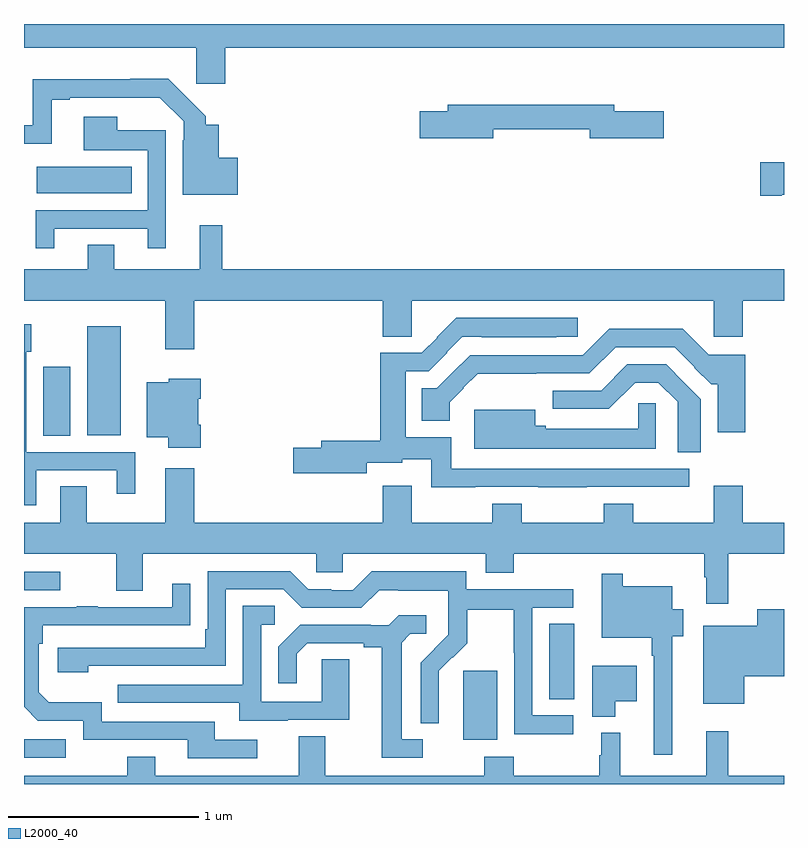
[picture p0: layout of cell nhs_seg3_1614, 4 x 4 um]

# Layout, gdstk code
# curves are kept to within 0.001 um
import gdstk
lib = gdstk.Library(unit=1e-6, precision=1e-09)
def R(c, l, rs):  # rectangles x0, y0, x1, y1
    for r in rs: c.add(gdstk.rectangle(r[:2], r[2:], *l))
def P(c, l, *ps):  # polygons
    for p in ps: c.add(gdstk.Polygon(p, *l))
L2000_40 = (2000, 40)

nhs_seg3_1614 = lib.new_cell('nhs_seg3_1614')
R(nhs_seg3_1614, L2000_40, [(195,670.539,195.22,670.635), (197.312,670.634,197.491,670.995), (197.765,670.846,197.896,671.243), (195,671.421,195.19,671.517), (195.101,672.232,195.244,672.595), (195.332,672.236,195.508,672.808), (195.066,673.508,195.566,673.648)])
P(nhs_seg3_1614, L2000_40, [(196.058,674.276),(199,674.276),(199,674.4),(195,674.4),(195,674.276),(195.907,674.276),(195.907,674.085),(196.058,674.085)],
  [(196.126,673.696),(196.024,673.696),(196.024,673.87),(195.956,673.87),(195.956,673.915),(195.758,674.113),(195.559,674.113),(195.559,674.11),(195.047,674.11),(195.047,673.866),(195,673.866),(195,673.77),(195.145,673.77),(195.145,674.001),(195.241,674.001),(195.241,674.013),(195.715,674.013),(195.84,673.887),(195.84,673.787),(195.836,673.787),(195.836,673.502),(196.126,673.502)],
  [(197.47,673.846),(197.978,673.846),(197.978,673.799),(198.367,673.799),(198.367,673.941),(198.106,673.941),(198.106,673.975),(197.231,673.975),(197.231,673.941),(197.082,673.941),(197.082,673.799),(197.47,673.799)],
  [(195.16,673.323),(195.65,673.323),(195.65,673.221),(195.747,673.221),(195.747,673.84),(195.49,673.84),(195.49,673.912),(195.314,673.912),(195.314,673.736),(195.651,673.736),(195.651,673.419),(195.062,673.419),(195.062,673.221),(195.16,673.221)],
  [(198.988,673.502),(199,673.502),(199,673.673),(198.876,673.673),(198.876,673.495),(198.988,673.495)],
  [(195.743,672.687),(195.896,672.687),(195.896,672.944),(196.889,672.944),(196.889,672.754),(197.04,672.754),(197.04,672.944),(198.631,672.944),(198.631,672.753),(198.782,672.753),(198.782,672.944),(199,672.944),(199,673.108),(196.043,673.108),(196.043,673.342),(195.926,673.342),(195.926,673.108),(195.475,673.108),(195.475,673.238),(195.335,673.238),(195.335,673.108),(195,673.108),(195,672.944),(195.743,672.944)],
  [(197.375,671.964),(198.502,671.964),(198.502,672.06),(197.248,672.06),(197.248,672.226),(197.008,672.226),(197.008,672.573),(197.131,672.573),(197.228,672.67),(197.226,672.672),(197.307,672.753),(197.914,672.753),(197.914,672.853),(197.274,672.853),(197.173,672.752),(197.175,672.75),(197.094,672.669),(196.874,672.669),(196.874,672.206),(196.565,672.206),(196.565,672.17),(196.416,672.17),(196.416,672.035),(196.804,672.035),(196.804,672.09),(196.992,672.09),(196.992,672.11),(197.144,672.11),(197.144,671.963)],
  [(195.064,672.051),(195.488,672.051),(195.488,671.928),(195.586,671.928),(195.586,672.147),(195.012,672.147),(195.012,672.675),(195.039,672.675),(195.039,672.82),(195,672.82),(195,671.867),(195.064,671.867)],
  [(198.797,672.66),(198.603,672.66),(198.467,672.796),(198.079,672.796),(197.94,672.657),(197.348,672.657),(197.173,672.484),(197.093,672.484),(197.093,672.312),(197.242,672.312),(197.242,672.409),(197.315,672.482),(197.312,672.485),(197.387,672.56),(197.976,672.561),(198.114,672.699),(198.426,672.699),(198.531,672.594),(198.528,672.591),(198.616,672.504),(198.65,672.504),(198.65,672.252),(198.797,672.252)],
  [(198.562,672.425),(198.379,672.609),(198.176,672.609),(198.038,672.471),(197.784,672.471),(197.784,672.375),(198.078,672.375),(198.216,672.513),(198.339,672.513),(198.441,672.412),(198.441,672.145),(198.562,672.145)],
  [(195.929,672.292),(195.916,672.292),(195.916,672.428),(195.929,672.428),(195.929,672.532),(195.762,672.532),(195.762,672.514),(195.647,672.514),(195.647,672.224),(195.758,672.224),(195.758,672.17),(195.929,672.17)],
  [(198.326,672.403),(198.232,672.403),(198.232,672.271),(197.745,672.271),(197.745,672.286),(197.692,672.286),(197.692,672.37),(197.37,672.37),(197.37,672.164),(198.326,672.164)],
  [(198.707,671.612),(199,671.612),(199,671.776),(198.782,671.776),(198.782,671.971),(198.629,671.971),(198.629,671.776),(198.207,671.776),(198.207,671.875),(198.052,671.875),(198.052,671.776),(197.619,671.776),(197.619,671.875),(197.464,671.875),(197.464,671.776),(197.041,671.776),(197.041,671.971),(196.889,671.971),(196.889,671.776),(195.896,671.776),(195.896,672.061),(195.743,672.061),(195.743,671.776),(195.331,671.776),(195.331,671.966),(195.191,671.966),(195.191,671.776),(195,671.776),(195,671.612),(195.485,671.612),(195.485,671.418),(195.625,671.418),(195.625,671.612),(196.539,671.612),(196.539,671.514),(196.677,671.514),(196.677,671.612),(197.429,671.612),(197.429,671.513),(197.577,671.513),(197.577,671.612),(198.579,671.612),(198.579,671.489),(198.59,671.489),(198.59,671.349),(198.707,671.349)],
  [(197.89,670.761),(197.676,670.761),(197.676,671.328),(197.89,671.328),(197.89,671.424),(197.328,671.424),(197.328,671.521),(196.831,671.521),(196.731,671.421),(196.616,671.421),(196.616,671.424),(196.497,671.424),(196.401,671.52),(195.966,671.52),(195.966,671.215),(195.953,671.215),(195.953,671.118),(195.177,671.118),(195.177,670.988),(195.338,670.988),(195.338,671.022),(196.062,671.022),(196.062,671.424),(196.365,671.424),(196.461,671.328),(196.776,671.328),(196.869,671.421),(196.969,671.421),(196.969,671.417),(197.232,671.417),(197.232,671.283),(197.234,671.283),(197.234,671.186),(197.088,671.038),(197.088,670.72),(197.184,670.72),(197.183,670.997),(197.253,671.067),(197.256,671.064),(197.333,671.141),(197.333,671.316),(197.578,671.316),(197.578,671.092),(197.58,671.092),(197.58,670.663),(197.89,670.663)],
  [(198.412,671.177),(198.469,671.177),(198.469,671.319),(198.412,671.319),(198.412,671.44),(198.151,671.44),(198.151,671.506),(198.042,671.506),(198.042,671.171),(198.303,671.171),(198.303,671.075),(198.315,671.075),(198.315,670.554),(198.412,670.554)],
  [(196.228,670.632),(196.003,670.632),(196.003,670.728),(195.408,670.728),(195.408,670.831),(195.131,670.831),(195.078,670.884),(195.078,671.138),(195.098,671.138),(195.098,671.235),(195.875,671.236),(195.875,671.455),(195.779,671.455),(195.779,671.331),(195.389,671.331),(195.389,671.336),(195.277,671.336),(195.277,671.331),(195,671.331),(195,670.806),(195.072,670.734),(195.312,670.734),(195.312,670.632),(195.863,670.632),(195.863,670.536),(196.228,670.536)],
  [(196.387,670.737),(196.711,670.737),(196.711,671.057),(196.566,671.057),(196.566,670.833),(196.248,670.833),(196.248,671.238),(196.321,671.238),(196.321,671.339),(196.152,671.339),(196.152,670.923),(195.493,670.923),(195.493,670.827),(196.133,670.827),(196.133,670.733),(196.387,670.733)],
  [(198.79,670.967),(199,670.967),(199,671.32),(198.859,671.32),(198.859,671.233),(198.575,671.233),(198.575,670.823),(198.79,670.823)],
  [(197.098,670.635),(196.987,670.635),(196.987,671.143),(197.034,671.19),(197.116,671.19),(197.116,671.287),(196.972,671.287),(196.92,671.235),(196.826,671.235),(196.826,671.238),(196.454,671.238),(196.338,671.122),(196.338,670.929),(196.435,670.929),(196.435,671.085),(196.492,671.142),(196.787,671.142),(196.787,671.12),(196.883,671.12),(196.883,670.539),(197.098,670.539)],
  [(198.112,670.835),(198.226,670.835),(198.226,671.023),(197.99,671.023),(197.99,670.754),(198.112,670.754)],
  [(199,670.444),(198.707,670.444),(198.707,670.678),(198.59,670.678),(198.59,670.444),(198.137,670.444),(198.137,670.669),(198.038,670.669),(198.038,670.551),(198.027,670.551),(198.027,670.444),(197.577,670.444),(197.577,670.543),(197.422,670.543),(197.422,670.444),(196.585,670.444),(196.585,670.652),(196.445,670.652),(196.445,670.444),(195.691,670.444),(195.691,670.543),(195.544,670.543),(195.544,670.444),(195,670.444),(195,670.4),(199,670.4)])

lib.write_gds('nhs_seg3_1614.gds')
